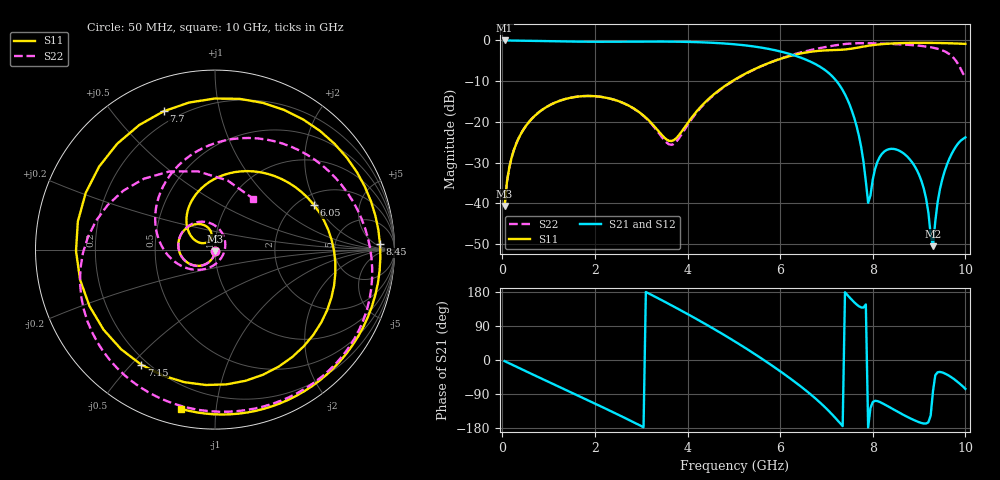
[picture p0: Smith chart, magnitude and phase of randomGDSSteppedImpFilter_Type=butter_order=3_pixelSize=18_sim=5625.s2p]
! freq	dB(S11)	phase(S11)	dB(S12)	phase(S12)
!  dB(S21)	phase(S21)	dB(S22)	phase(S22)
!S-par simulation data
#  GHz  S  DB  R 50
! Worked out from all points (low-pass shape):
!   200 points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, 50 MHz to 10 GHz, reference 50 ohm
!   highest |S21| = -0.01 dB at 50 MHz (marker M1); lowest = -50.5 dB at 9.3 GHz (marker M2)
!   |S21| within 3 dB of the highest: start of sweep to 6.108 GHz
!   lowest |S11| = -40.6 dB at 50 MHz (marker M3), VSWR 1.02, Z = 50 - j0.928 ohm
!   |S11| at or under -10 dB: start of sweep to 4.964 GHz
!   |S22| runs from -40.6 to -0.7 dB; largest |S21 - S12| = 0
!   S11 on the Smith chart (normalised r, x): 50 MHz: 1.00, -0.02; 6.05 GHz: 2.41, +1.89; 7.15 GHz: 0.18, -0.53; 7.7 GHz: 0.14, +0.68; 8.45 GHz: 21, +8; 10 GHz: 0.08, -0.81
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0.05  -40.65 -91.2  -0.01 -3.0  -0.01 -3.0  -40.64 -91.2
0.2  -28.80 -101.5  -0.03 -11.7  -0.03 -11.7  -28.79 -101.4
0.5  -21.14 -119.6  -0.07 -29.1  -0.07 -29.1  -21.14 -119.4
1.75  -13.66 169.2  -0.31 -100.6  -0.31 -100.6  -13.66 168.2
2.65  -15.54 121.6  -0.31 -153.1  -0.31 -153.1  -15.57 111.5
3.4  -22.61 105.7  -0.28 160.6  -0.28 160.6  -23.03 36.8
3.7  -24.49 136.1  -0.30 141.3  -0.30 141.3  -25.42 -35.9
4.3  -16.09 150.0  -0.46 100.9  -0.46 100.9  -16.32 -132.4
5.05  -9.41 105.6  -0.98 46.8  -0.98 46.8  -9.50 164.7
6.05  -4.36 24.2  -2.83 -33.9  -2.83 -33.9  -4.30 85.1
6.7  -2.72 -47.4  -5.45 -95.0  -5.45 -95.0  -2.26 34.3
7.15  -2.37 -122.7  -9.10 -147.2  -9.10 -147.2  -1.27 0.8
7.45  -2.16 168.4  -14.41 171.7  -14.41 171.7  -0.82 -21.4
7.7  -1.70 110.4  -23.36 141.9  -23.36 141.9  -0.68 -39.5
7.9  -1.31 72.0  -39.85 -177.9  -39.85 -177.9  -0.68 -53.2
8.35  -0.79 11.8  -26.67 -123.8  -26.67 -123.8  -0.83 -82.3
8.45  -0.73 1.9  -26.62 -130.7  -26.62 -130.7  -0.88 -88.6
9  -0.59 -41.7  -32.98 -164.2  -32.98 -164.2  -1.29 -125.9
9.3  -0.61 -61.0  -50.48 -82.8  -50.48 -82.8  -1.78 -150.7
9.55  -0.66 -75.9  -32.15 -35.2  -32.15 -35.2  -2.66 -178.5
9.85  -0.77 -93.4  -25.19 -59.7  -25.19 -59.7  -5.94 120.5
10  -0.84 -102.1  -23.79 -76.1  -23.79 -76.1  -9.00 52.9
